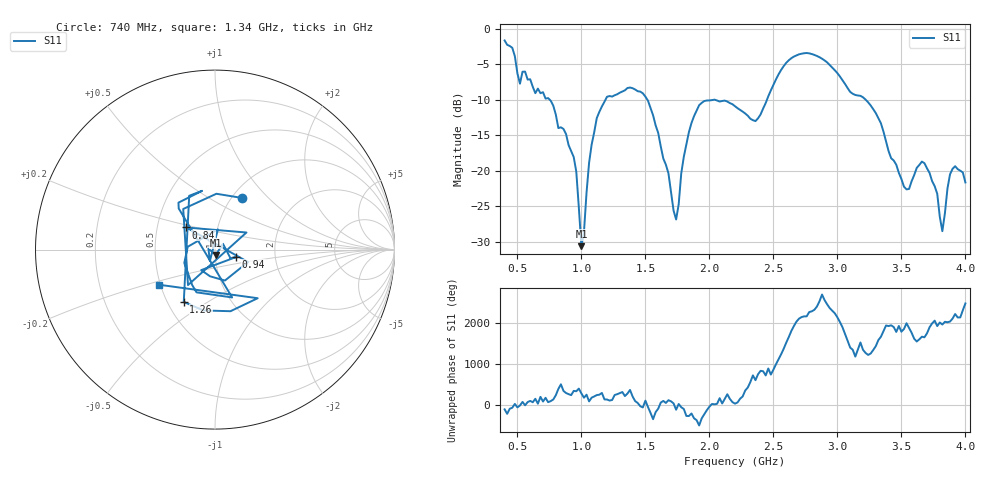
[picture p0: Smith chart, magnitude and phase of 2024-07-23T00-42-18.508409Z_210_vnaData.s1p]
!Created with skrf (http://scikit-rf.org).
# Hz S RI R 50.0
!freq ReS11 ImS11
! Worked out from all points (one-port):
!   181 points, 400 MHz to 4 GHz, reference 50 ohm
!   lowest |S11| = -30.6 dB at 1 GHz (marker M1), VSWR 1.06, Z = 50.3 - j2.94 ohm
!   |S11| at or under -10 dB: 752.2 MHz to 1.188 GHz (436.3 MHz wide, 45 % of centre); 1.515 GHz to 2.039 GHz (523.8 MHz wide, 29.5 % of centre); 3.22 GHz to end of sweep (the widest 3 of 4)
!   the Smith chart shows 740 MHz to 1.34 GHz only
!   S11 on the Smith chart (normalised r, x): 740 MHz: 1.11, +0.71; 840 MHz: 0.70, +0.18; 940 MHz: 1.26, -0.11; 1.26 GHz: 0.60, -0.40; 1.34 GHz: 0.49, -0.22
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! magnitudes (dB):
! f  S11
! 400 MHz  -1.7
! 520 MHz  -7.8
! 740 MHz  -9.8
! 840 MHz  -13.9
! 860 MHz  -14.1
! 940 MHz  -18.1
! 1 GHz  -30.6
! 1.06 GHz  -18.9
! 1.12 GHz  -12.6
! 1.26 GHz  -9.4
! 1.3 GHz  -9.0
! 1.34 GHz  -8.7
! 1.52 GHz  -10.1
! 1.74 GHz  -26.9
! 1.76 GHz  -24.7
! 1.82 GHz  -16.3
! 1.92 GHz  -10.8
! 2.2 GHz  -10.9
! 2.36 GHz  -13.0
! 2.66 GHz  -3.9
! 3.1 GHz  -8.9
! 3.3 GHz  -11.9
! 3.56 GHz  -22.6
! 3.68 GHz  -18.9
! 3.78 GHz  -23.2
! 3.82 GHz  -28.5
! 3.9 GHz  -19.7
! 4 GHz  -21.6
